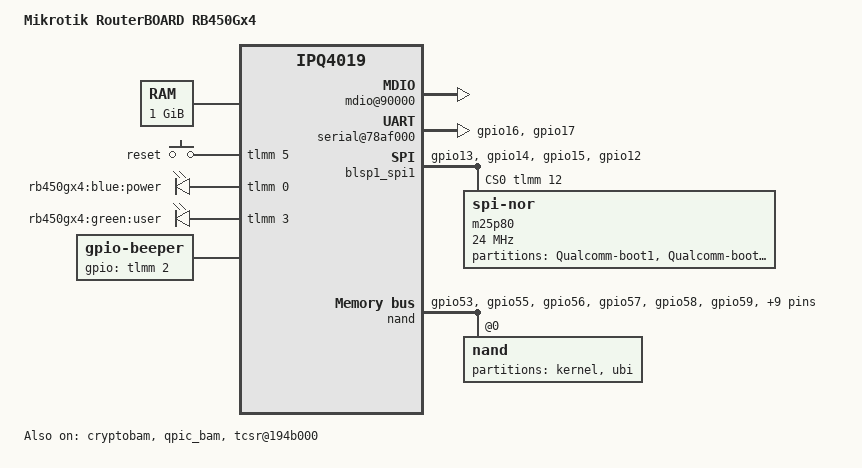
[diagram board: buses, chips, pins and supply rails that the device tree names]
/* Copyright (c) 2015, The Linux Foundation. All rights reserved.
 * Copyright (c) 2019, Robert Marko <robimarko@gmail.com>
 *
 * Permission to use, copy, modify, and/or distribute this software for any
 * purpose with or without fee is hereby granted, provided that the above
 * copyright notice and this permission notice appear in all copies.
 *
 * THE SOFTWARE IS PROVIDED "AS IS" AND THE AUTHOR DISCLAIMS ALL WARRANTIES
 * WITH REGARD TO THIS SOFTWARE INCLUDING ALL IMPLIED WARRANTIES OF
 * MERCHANTABILITY AND FITNESS. IN NO EVENT SHALL THE AUTHOR BE LIABLE FOR
 * ANY SPECIAL, DIRECT, INDIRECT, OR CONSEQUENTIAL DAMAGES OR ANY DAMAGES
 * WHATSOEVER RESULTING FROM LOSS OF USE, DATA OR PROFITS, WHETHER IN AN
 * ACTION OF CONTRACT, NEGLIGENCE OR OTHER TORTIOUS ACTION, ARISING OUT OF
 * OR IN CONNECTION WITH THE USE OR PERFORMANCE OF THIS SOFTWARE.
 *
 */

#include "qcom-ipq4019.dtsi"
#include <dt-bindings/gpio/gpio.h>
#include <dt-bindings/input/input.h>
#include <dt-bindings/soc/qcom,tcsr.h>

/ {
	model = "Mikrotik RouterBOARD RB450Gx4";
	compatible = "mikrotik,rb450gx4";

	memory {
		device_type = "memory";
		reg = <0x80000000 0x40000000>;
	};

	chosen {
		stdout-path = "serial0:115200n8";
	};

	aliases {
		led-boot = &user;
		led-failsafe = &user;
		led-running = &user;
		led-upgrade = &user;
	};

	soc {
		rng@22000 {
			status = "okay";
		};

		mdio@90000 {
			status = "okay";
			qcom,mdio_offset = <0x18>;
			qcom,mdio_offset_limit = <0x5>;
		};

		ess-psgmii@98000 {
			status = "okay";
		};

		counter@4a1000 {
			compatible = "qcom,qca-gcnt";
			reg = <0x4a1000 0x4>;
		};

		tcsr@1949000 {
			compatible = "qcom,tcsr";
			reg = <0x1949000 0x100>;
			qcom,wifi_glb_cfg = <TCSR_WIFI_GLB_CFG>;
		};

		tcsr@194b000 {
			/* select hostmode */
			compatible = "qcom,tcsr";
			reg = <0x194b000 0x100>;
			qcom,usb-hsphy-mode-select = <TCSR_USB_HSPHY_HOST_MODE>;
			status = "okay";
		};

		ess_tcsr@1953000 {
			compatible = "qcom,tcsr";
			reg = <0x1953000 0x1000>;
			qcom,ess-interface-select = <TCSR_ESS_PSGMII>;
		};

		tcsr@1957000 {
			compatible = "qcom,tcsr";
			reg = <0x1957000 0x100>;
			qcom,wifi_noc_memtype_m0_m2 = <TCSR_WIFI_NOC_MEMTYPE_M0_M2>;
		};

		serial@78af000 {
			pinctrl-0 = <&serial_pins>;
			pinctrl-names = "default";
			status = "okay";
		};

		crypto@8e3a000 {
			status = "okay";
		};

		watchdog@b017000 {
			status = "okay";
		};

		ess-switch@c000000 {
			status = "okay";
		};

		edma@c080000 {
			status = "okay";
		};
	};

	keys {
		compatible = "gpio-keys";

		reset {
			label = "reset";
			gpios = <&tlmm 5 GPIO_ACTIVE_HIGH>;
			linux,code = <KEY_RESTART >;
		};
	};

	leds {
		compatible = "gpio-leds";

		power: power {
			label = "rb450gx4:blue:power";
			gpios = <&tlmm 0 GPIO_ACTIVE_HIGH>;
			default-state = "keep";
			panic-indicator;
		};

		user: user {
			label = "rb450gx4:green:user";
			gpios = <&tlmm 3 GPIO_ACTIVE_HIGH>;
		};
	};

	beeper: beeper {
			compatible = "gpio-beeper";
			gpios = <&tlmm 2 GPIO_ACTIVE_HIGH>;
	};
};


&tlmm {
	serial_pins: serial_pinmux {
		mux {
			pins = "gpio16", "gpio17";
			function = "blsp_uart0";
			bias-disable;
		};
	};

	spi_0_pins: spi-0-pinmux {
		pinmux {
			function = "blsp_spi0";
			pins = "gpio13", "gpio14", "gpio15";
			bias-disable;
		};

		pinmux_cs {
			function = "gpio";
			pins = "gpio12";
			bias-disable;
			output-high;
		};
	};

	nand_pins: nand-pins {
		pins = "gpio53", "gpio55", "gpio56",
				"gpio57", "gpio58", "gpio59",
				"gpio60", "gpio62", "gpio63",
				"gpio64", "gpio65", "gpio66",
				"gpio67", "gpio68", "gpio69";
		function = "qpic";
	};
};

&blsp_dma {
	status = "okay";
};

&blsp1_spi1 {
	pinctrl-0 = <&spi_0_pins>;
	pinctrl-names = "default";
	cs-gpios = <&tlmm 12 GPIO_ACTIVE_HIGH>;
	status = "okay";

	m25p80@0 {
		reg = <0>;
		compatible = "jedec,spi-nor";
		spi-max-frequency = <24000000>;

		partitions {
			compatible = "fixed-partitions";
			#address-cells = <1>;
			#size-cells = <1>;

			partition0@0 {
				label = "Qualcomm-boot1";
				reg = <0x00000000 0x23000>;
				read-only;
			};

			partition1@23000 {
				label = "Qualcomm-boot2";
				reg = <0x00023000 0x5d000>;
				read-only;
			};

			partition2@80000 {
				label = "RouterBoot";
				reg = <0x00080000 0x0e000>;
				read-only;
			};

			partition3@8e000 {
				label = "hard_config";
				reg = <0x0008e000 0x01000>;
			};

			partition4@90000 {
				label = "dts_config";
				reg = <0x00090000 0x10000>;
				read-only;
			};

			partition5@bd000 {
				label = "soft_config";
				reg = <0x000bd000 0x01000>;
			};
		};
	};
};

&cryptobam {
	status = "okay";
};

&nand {
	pinctrl-0 = <&nand_pins>;
	pinctrl-names = "default";
	status = "okay";

	nand@0 {
		partitions {
			compatible = "fixed-partitions";
			#address-cells = <1>;
			#size-cells = <1>;

			partition0@0 {
				label = "kernel";
				reg = <0x00000000 0x1000000>;
			};

			partition1@1000000 {
				label = "ubi";
				reg = <0x1000000 0x1f000000>;
			};
		};
	};
};

&qpic_bam {
	status = "okay";
};

